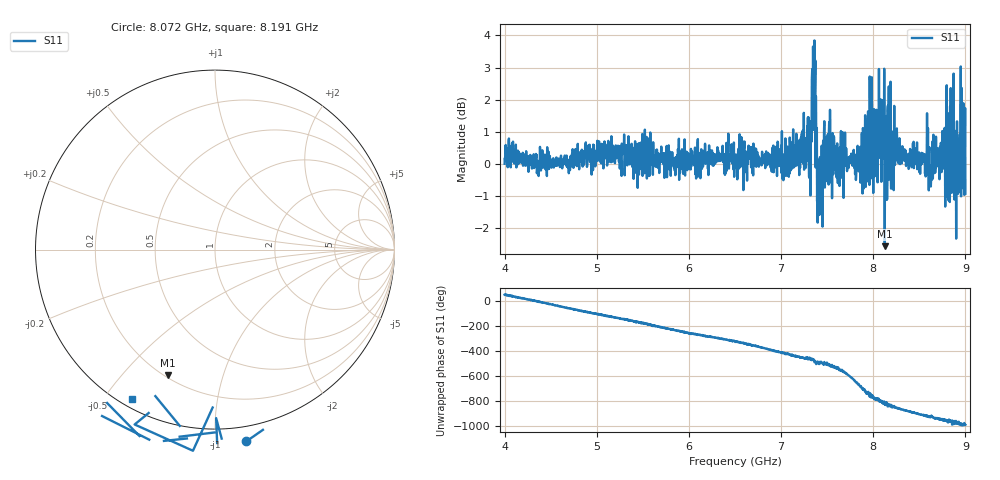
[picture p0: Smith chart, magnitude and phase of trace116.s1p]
! Created with skrf 1.8.0 (http://scikit-rf.org).
# Hz S RI R 50.0
!freq ReS11 ImS11
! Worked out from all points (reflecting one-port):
!   1601 points, 4 GHz to 9 GHz, reference 50 ohm
!   lowest |S11| = -2.5 dB at 8.125 GHz (marker M1), VSWR 6.86, Z = 10.7 - j33.6 ohm
!   phase of S11 starts at 51 deg and turns -1044 deg over the sweep
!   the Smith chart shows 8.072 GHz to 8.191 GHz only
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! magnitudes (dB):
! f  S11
! 4 GHz  0.0
! 4.625 GHz  -0.1
! 5.25 GHz  -0.1
! 5.875 GHz  0.2
! 6.5 GHz  0.2
! 7.125 GHz  -0.1
! 7.294 GHz  0.1
! 7.356 GHz  3.4
! 7.4 GHz  -0.6
! 7.416 GHz  -1.6
! 7.512 GHz  0.9
! 7.612 GHz  0.1
! 7.669 GHz  1.0
! 7.75 GHz  0.1
! 7.838 GHz  -0.1
! 7.962 GHz  2.7
! 7.997 GHz  0.4
! 8.056 GHz  0.8
! 8.125 GHz  -2.5
! 8.181 GHz  1.0
! 8.216 GHz  0.5
! 8.375 GHz  0.2
! 8.569 GHz  -0.4
! 8.622 GHz  -0.1
! 8.775 GHz  1.1
! 8.919 GHz  -0.9
! 8.959 GHz  2.4
! 9 GHz  -0.9
